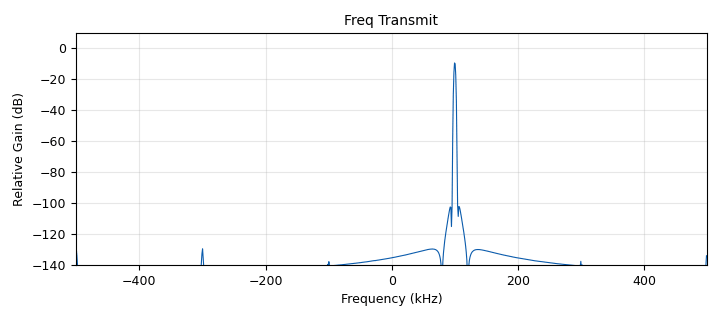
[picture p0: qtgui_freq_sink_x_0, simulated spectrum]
options:
  parameters:
    generate_options: qt_gui
    id: simple_transmitter
    output_language: python
    title: Not titled yet
  states: {}

blocks:
- name: freq_wave
  id: variable
  parameters:
    value: 2.49e9
  states: {}
- name: freq_wave2
  id: variable
  parameters:
    value: 100e3
  states: {}
- name: samp_rate
  id: variable
  parameters:
    value: 1e6
  states: {}
- name: t_gain
  id: variable_qtgui_range
  parameters:
    label: Transmitter Gain
    start: '0'
    step: '1'
    stop: '60'
    value: '50'
  states: {}
- name: analog_sig_source_x_0
  id: analog_sig_source_x
  parameters:
    amp: '1'
    freq: freq_wave2
    offset: '0'
    phase: '0'
    samp_rate: samp_rate
    type: complex
    waveform: analog.GR_COS_WAVE
  states: {}
- name: qtgui_freq_sink_x_0
  id: qtgui_freq_sink_x
  parameters:
    bw: samp_rate
    fc: '0'
    fftsize: '1024'
    name: '"Freq Transmit"'
    type: complex
  states: {}
- name: uhd_usrp_sink_0
  id: uhd_usrp_sink
  parameters:
    ant0: '"TX/RX"'
    center_freq0: freq_wave
    gain0: t_gain
    samp_rate: samp_rate
    sync: sync
    type: fc32
  states: {}

connections:
- [analog_sig_source_x_0, '0', qtgui_freq_sink_x_0, '0']
- [analog_sig_source_x_0, '0', uhd_usrp_sink_0, '0']

metadata:
  file_format: 1
  grc_version: 3.10.9.2
